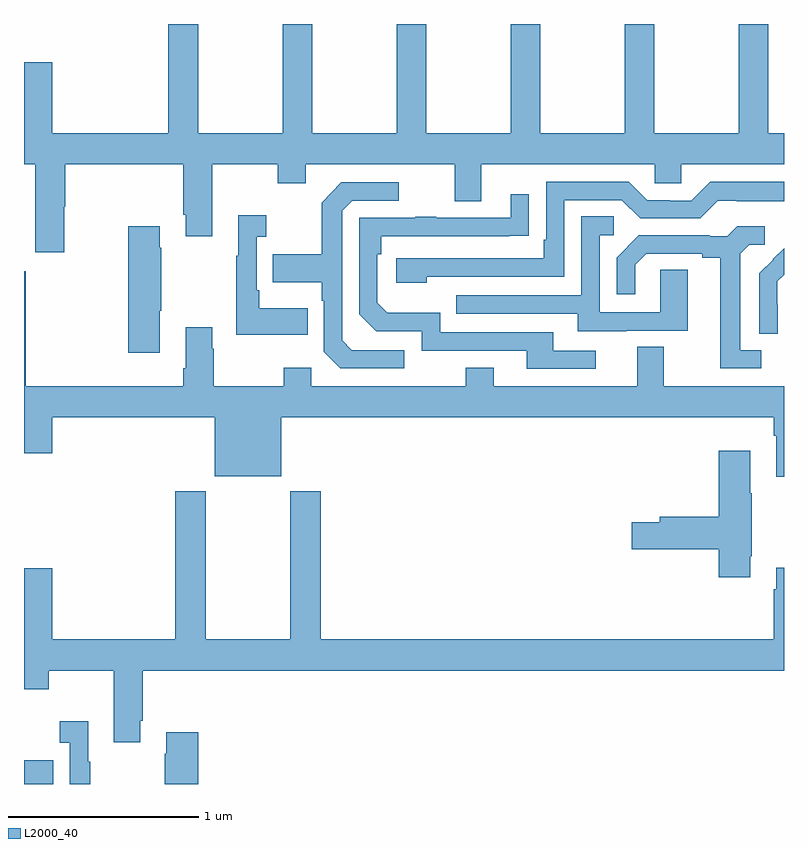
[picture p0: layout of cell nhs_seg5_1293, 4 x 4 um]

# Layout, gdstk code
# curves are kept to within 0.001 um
import gdstk
lib = gdstk.Library(unit=1e-6, precision=1e-09)
def R(c, l, rs):  # rectangles x0, y0, x1, y1
    for r in rs: c.add(gdstk.rectangle(r[:2], r[2:], *l))
def P(c, l, *ps):  # polygons
    for p in ps: c.add(gdstk.Polygon(p, *l))
L2000_40 = (2000, 40)

nhs_seg5_1293 = lib.new_cell('nhs_seg5_1293')
R(nhs_seg5_1293, L2000_40, [(189,886.799,189.155,886.923)])
P(nhs_seg5_1293, L2000_40, [(189.213,889.838),(189.218,889.838),(189.218,890.06),(189.839,890.06),(189.839,889.795),(189.851,889.795),(189.851,889.683),(189.991,889.683),(189.991,890.06),(190.336,890.06),(190.336,889.961),(190.483,889.961),(190.483,890.06),(191.267,890.06),(191.267,889.866),(191.407,889.866),(191.407,890.06),(192.321,890.06),(192.321,889.962),(192.459,889.962),(192.459,890.06),(193,890.06),(193,890.224),(192.918,890.224),(192.918,890.799),(192.763,890.799),(192.763,890.224),(192.318,890.224),(192.318,890.799),(192.163,890.799),(192.163,890.224),(191.718,890.224),(191.718,890.799),(191.563,890.799),(191.563,890.224),(191.118,890.224),(191.118,890.799),(190.963,890.799),(190.963,890.224),(190.518,890.224),(190.518,890.799),(190.363,890.799),(190.363,890.224),(189.918,890.224),(189.918,890.799),(189.758,890.799),(189.758,890.224),(189.148,890.224),(189.148,890.599),(189,890.599),(189,890.06),(189.058,890.06),(189.058,889.599),(189.213,889.599)],
  [(191.12,889.47),(191.844,889.47),(191.844,889.872),(192.147,889.872),(192.243,889.776),(192.558,889.776),(192.651,889.869),(192.751,889.869),(192.751,889.865),(193,889.865),(193,889.969),(192.613,889.969),(192.513,889.869),(192.398,889.869),(192.398,889.872),(192.279,889.872),(192.183,889.968),(191.748,889.968),(191.748,889.663),(191.735,889.663),(191.735,889.566),(190.959,889.566),(190.959,889.436),(191.12,889.436)],
  [(191.002,889.083),(190.725,889.083),(190.674,889.134),(190.674,889.815),(190.728,889.869),(190.972,889.869),(190.972,889.965),(190.671,889.965),(190.566,889.859),(190.566,889.587),(190.309,889.587),(190.309,889.439),(190.566,889.439),(190.566,889.343),(190.578,889.343),(190.578,889.074),(190.665,888.987),(191.002,888.987)],
  [(192.01,889.08),(191.785,889.08),(191.785,889.176),(191.19,889.176),(191.19,889.279),(190.913,889.279),(190.86,889.332),(190.86,889.586),(190.88,889.586),(190.88,889.683),(191.657,889.684),(191.657,889.903),(191.561,889.903),(191.561,889.779),(191.171,889.779),(191.171,889.784),(191.059,889.784),(191.059,889.779),(190.764,889.779),(190.764,889.272),(190.854,889.182),(191.094,889.182),(191.094,889.08),(191.645,889.08),(191.645,888.984),(192.01,888.984)],
  [(190.493,889.303),(190.237,889.303),(190.237,889.399),(190.224,889.399),(190.224,889.679),(190.276,889.679),(190.276,889.792),(190.127,889.792),(190.127,889.579),(190.116,889.579),(190.116,889.163),(190.493,889.163)],
  [(192.169,889.185),(192.493,889.185),(192.493,889.505),(192.348,889.505),(192.348,889.281),(192.03,889.281),(192.03,889.686),(192.103,889.686),(192.103,889.787),(191.934,889.787),(191.934,889.371),(191.275,889.371),(191.275,889.275),(191.915,889.275),(191.915,889.181),(192.169,889.181)],
  [(192.88,889.083),(192.769,889.083),(192.769,889.591),(192.816,889.638),(192.898,889.638),(192.898,889.735),(192.754,889.735),(192.702,889.683),(192.608,889.683),(192.608,889.686),(192.236,889.686),(192.12,889.57),(192.12,889.377),(192.217,889.377),(192.217,889.533),(192.274,889.59),(192.569,889.59),(192.569,889.568),(192.665,889.568),(192.665,888.987),(192.88,888.987)],
  [(189.715,889.291),(189.723,889.291),(189.723,889.622),(189.715,889.622),(189.715,889.735),(189.548,889.735),(189.548,889.068),(189.715,889.068)],
  [(192.966,889.322),(192.965,889.322),(192.965,889.445),(193,889.48),(193,889.618),(192.942,889.56),(192.943,889.559),(192.87,889.486),(192.87,889.168),(192.966,889.168)],
  [(193,888.892),(192.367,888.892),(192.367,889.1),(192.227,889.1),(192.227,888.892),(191.473,888.892),(191.473,888.991),(191.326,888.991),(191.326,888.892),(190.512,888.892),(190.512,888.991),(190.366,888.991),(190.366,888.892),(189.999,888.892),(189.999,889.091),(189.991,889.091),(189.991,889.204),(189.851,889.204),(189.851,888.988),(189.839,888.988),(189.839,888.892),(189.01,888.892),(189.01,889.498),(189,889.498),(189,888.54),(189.148,888.54),(189.148,888.728),(190.004,888.728),(190.004,888.419),(190.354,888.419),(190.354,888.728),(192.947,888.728),(192.947,888.632),(192.959,888.632),(192.959,888.417),(193,888.417)],
  [(192.823,887.998),(192.831,887.998),(192.831,888.329),(192.823,888.329),(192.823,888.553),(192.656,888.553),(192.656,888.206),(192.347,888.206),(192.347,888.176),(192.198,888.176),(192.198,888.034),(192.656,888.034),(192.656,887.886),(192.823,887.886)],
  [(189.613,887.131),(189.626,887.131),(189.626,887.396),(193,887.396),(193,887.938),(192.959,887.938),(192.959,887.825),(192.947,887.825),(192.947,887.56),(190.562,887.56),(190.562,888.34),(190.402,888.34),(190.402,887.56),(189.957,887.56),(189.957,888.34),(189.797,888.34),(189.797,887.56),(189.148,887.56),(189.148,887.935),(189,887.935),(189,887.297),(189.129,887.297),(189.129,887.396),(189.473,887.396),(189.473,887.019),(189.613,887.019)],
  [(189.349,886.915),(189.337,886.915),(189.337,887.128),(189.189,887.128),(189.189,887.015),(189.24,887.015),(189.24,886.799),(189.349,886.799)],
  [(189.917,887.071),(189.749,887.071),(189.749,886.958),(189.742,886.958),(189.742,886.799),(189.917,886.799)])

lib.write_gds('nhs_seg5_1293.gds')
